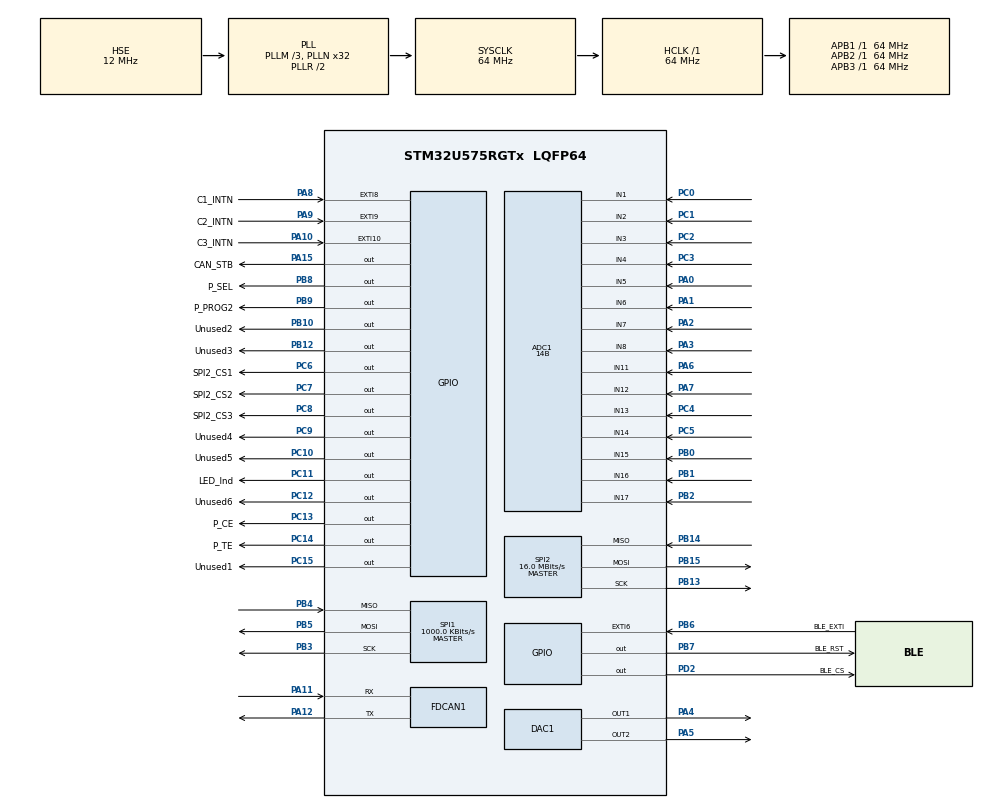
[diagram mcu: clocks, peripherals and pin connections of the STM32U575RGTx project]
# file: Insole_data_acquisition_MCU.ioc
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ADC1.Channel-0\#ChannelRegularConversion=ADC_CHANNEL_1
ADC1.Channel-1\#ChannelRegularConversion=ADC_CHANNEL_2
ADC1.Channel-10\#ChannelRegularConversion=ADC_CHANNEL_13
ADC1.Channel-11\#ChannelRegularConversion=ADC_CHANNEL_14
ADC1.Channel-12\#ChannelRegularConversion=ADC_CHANNEL_15
ADC1.Channel-13\#ChannelRegularConversion=ADC_CHANNEL_16
ADC1.Channel-14\#ChannelRegularConversion=ADC_CHANNEL_17
ADC1.Channel-2\#ChannelRegularConversion=ADC_CHANNEL_3
ADC1.Channel-3\#ChannelRegularConversion=ADC_CHANNEL_4
ADC1.Channel-4\#ChannelRegularConversion=ADC_CHANNEL_5
ADC1.Channel-5\#ChannelRegularConversion=ADC_CHANNEL_6
ADC1.Channel-6\#ChannelRegularConversion=ADC_CHANNEL_7
ADC1.Channel-7\#ChannelRegularConversion=ADC_CHANNEL_8
ADC1.Channel-8\#ChannelRegularConversion=ADC_CHANNEL_11
ADC1.Channel-9\#ChannelRegularConversion=ADC_CHANNEL_12
ADC1.ClockPrescaler=ADC_CLOCK_ASYNC_DIV2
ADC1.ContinuousConvMode=DISABLE
ADC1.ConversionDataManagement=ADC_CONVERSIONDATA_DMA_ONESHOT
ADC1.EOCSelection=ADC_EOC_SEQ_CONV
ADC1.EnableRegularConversion=ENABLE
ADC1.LowPowerAutoWait=ENABLE
ADC1.MonitoredBy-0\#ChannelRegularConversion=__NULL
ADC1.MonitoredBy-1\#ChannelRegularConversion=__NULL
ADC1.MonitoredBy-10\#ChannelRegularConversion=__NULL
ADC1.MonitoredBy-11\#ChannelRegularConversion=__NULL
ADC1.MonitoredBy-12\#ChannelRegularConversion=__NULL
ADC1.MonitoredBy-13\#ChannelRegularConversion=__NULL
ADC1.MonitoredBy-14\#ChannelRegularConversion=__NULL
ADC1.MonitoredBy-2\#ChannelRegularConversion=__NULL
ADC1.MonitoredBy-3\#ChannelRegularConversion=__NULL
ADC1.MonitoredBy-4\#ChannelRegularConversion=__NULL
ADC1.MonitoredBy-5\#ChannelRegularConversion=__NULL
ADC1.MonitoredBy-6\#ChannelRegularConversion=__NULL
ADC1.MonitoredBy-7\#ChannelRegularConversion=__NULL
ADC1.MonitoredBy-8\#ChannelRegularConversion=__NULL
ADC1.MonitoredBy-9\#ChannelRegularConversion=__NULL
ADC1.NbrOfConversion=15
ADC1.NbrOfConversionFlag=1
ADC1.OffsetNumber-0\#ChannelRegularConversion=ADC_OFFSET_NONE
ADC1.OffsetNumber-1\#ChannelRegularConversion=ADC_OFFSET_NONE
ADC1.OffsetNumber-10\#ChannelRegularConversion=ADC_OFFSET_NONE
ADC1.OffsetNumber-11\#ChannelRegularConversion=ADC_OFFSET_NONE
ADC1.OffsetNumber-12\#ChannelRegularConversion=ADC_OFFSET_NONE
ADC1.OffsetNumber-13\#ChannelRegularConversion=ADC_OFFSET_NONE
ADC1.OffsetNumber-14\#ChannelRegularConversion=ADC_OFFSET_NONE
ADC1.OffsetNumber-2\#ChannelRegularConversion=ADC_OFFSET_NONE
ADC1.OffsetNumber-3\#ChannelRegularConversion=ADC_OFFSET_NONE
ADC1.OffsetNumber-4\#ChannelRegularConversion=ADC_OFFSET_NONE
ADC1.OffsetNumber-5\#ChannelRegularConversion=ADC_OFFSET_NONE
ADC1.OffsetNumber-6\#ChannelRegularConversion=ADC_OFFSET_NONE
ADC1.OffsetNumber-7\#ChannelRegularConversion=ADC_OFFSET_NONE
ADC1.OffsetNumber-8\#ChannelRegularConversion=ADC_OFFSET_NONE
ADC1.OffsetNumber-9\#ChannelRegularConversion=ADC_OFFSET_NONE
ADC1.Rank-0\#ChannelRegularConversion=1
ADC1.Rank-1\#ChannelRegularConversion=2
ADC1.Rank-10\#ChannelRegularConversion=11
ADC1.Rank-11\#ChannelRegularConversion=12
ADC1.Rank-12\#ChannelRegularConversion=13
ADC1.Rank-13\#ChannelRegularConversion=14
ADC1.Rank-14\#ChannelRegularConversion=15
ADC1.Rank-2\#ChannelRegularConversion=3
ADC1.Rank-3\#ChannelRegularConversion=4
ADC1.Rank-4\#ChannelRegularConversion=5
ADC1.Rank-5\#ChannelRegularConversion=6
ADC1.Rank-6\#ChannelRegularConversion=7
ADC1.Rank-7\#ChannelRegularConversion=8
ADC1.Rank-8\#ChannelRegularConversion=9
ADC1.Rank-9\#ChannelRegularConversion=10
ADC1.Resolution=ADC_RESOLUTION_14B
ADC1.SamplingTime-0\#ChannelRegularConversion=ADC_SAMPLETIME_5CYCLE
ADC1.SamplingTime-1\#ChannelRegularConversion=ADC_SAMPLETIME_5CYCLE
ADC1.SamplingTime-10\#ChannelRegularConversion=ADC_SAMPLETIME_5CYCLE
ADC1.SamplingTime-11\#ChannelRegularConversion=ADC_SAMPLETIME_5CYCLE
ADC1.SamplingTime-12\#ChannelRegularConversion=ADC_SAMPLETIME_5CYCLE
ADC1.SamplingTime-13\#ChannelRegularConversion=ADC_SAMPLETIME_5CYCLE
ADC1.SamplingTime-14\#ChannelRegularConversion=ADC_SAMPLETIME_5CYCLE
ADC1.SamplingTime-2\#ChannelRegularConversion=ADC_SAMPLETIME_5CYCLE
ADC1.SamplingTime-3\#ChannelRegularConversion=ADC_SAMPLETIME_5CYCLE
ADC1.SamplingTime-4\#ChannelRegularConversion=ADC_SAMPLETIME_5CYCLE
ADC1.SamplingTime-5\#ChannelRegularConversion=ADC_SAMPLETIME_5CYCLE
ADC1.SamplingTime-6\#ChannelRegularConversion=ADC_SAMPLETIME_5CYCLE
ADC1.SamplingTime-7\#ChannelRegularConversion=ADC_SAMPLETIME_5CYCLE
ADC1.SamplingTime-8\#ChannelRegularConversion=ADC_SAMPLETIME_5CYCLE
ADC1.SamplingTime-9\#ChannelRegularConversion=ADC_SAMPLETIME_5CYCLE
ADC1.master=1
CORTEX_M33_NS.userName=CORTEX_M33
DAC1.DAC_Channel-DAC_OUT1=DAC_CHANNEL_1
DAC1.DAC_Channel-DAC_OUT2=DAC_CHANNEL_2
DAC1.DAC_HoldTime-DAC_OUT1=62
DAC1.DAC_HoldTime-DAC_OUT2=62
DAC1.DAC_RefreshTime-DAC_OUT1=4
DAC1.DAC_RefreshTime-DAC_OUT2=4
DAC1.DAC_SampleAndHold-DAC_OUT1=DAC_SAMPLEANDHOLD_ENABLE
DAC1.DAC_SampleAndHold-DAC_OUT2=DAC_SAMPLEANDHOLD_ENABLE
DAC1.DAC_SampleTime-DAC_OUT1=11
DAC1.DAC_SampleTime-DAC_OUT2=11
DAC1.DAC_Trigger-DAC_OUT1=DAC_TRIGGER_NONE
FDCAN1.CalculateBaudRateNominal=1000000
FDCAN1.CalculateTimeBitNominal=1000
FDCAN1.CalculateTimeQuantumNominal=62.5
FDCAN1.NominalPrescaler=4
FDCAN1.NominalTimeSeg1=13
FDCAN1.NominalTimeSeg2=2
GPDMA1.CIRCULARMODE_GPDMACH0=DISABLE
GPDMA1.DATAHANDLING_GPDMACH0=NONE
GPDMA1.DESTDATAWIDTH_GPDMACH0=DMA_DEST_DATAWIDTH_HALFWORD
GPDMA1.DESTINC_GPDMACH0=DMA_DINC_INCREMENTED
GPDMA1.IPHANDLE_GPDMACH0-SIMPLEREQUEST_GPDMACH0=__NULL
GPDMA1.LINKALLOCATEDPORT_CIRCULAR_GPDMACH0=DMA_LINK_ALLOCATED_PORT0
GPDMA1.REQUEST_GPDMACH0=GPDMA1_REQUEST_ADC1
GPDMA1.SRCDATAWIDTH_GPDMACH0=DMA_SRC_DATAWIDTH_HALFWORD
GPDMA1.SRCINC_GPDMACH0=DMA_SINC_FIXED
GPDMA1.TRIGGERPOLARITY_GPDMACH0=DMA_TRIG_POLARITY_MASKED
Mcu.Family=STM32U5
Mcu.Name=STM32U575RGTx
Mcu.Package=LQFP64
NVIC.ADC1_IRQn=true\:0\:0\:false\:false\:true\:true\:true\:true
NVIC.EXTI10_IRQn=true\:2\:0\:true\:false\:true\:true\:true\:true
NVIC.EXTI6_IRQn=true\:1\:0\:true\:false\:true\:true\:true\:true
NVIC.EXTI8_IRQn=true\:2\:0\:true\:false\:true\:true\:true\:true
NVIC.EXTI9_IRQn=true\:2\:0\:true\:false\:true\:true\:true\:true
NVIC.FDCAN1_IT0_IRQn=true\:5\:0\:true\:false\:true\:true\:true\:true
NVIC.FDCAN1_IT1_IRQn=true\:5\:0\:true\:false\:true\:true\:true\:true
NVIC.GPDMA1_Channel0_IRQn=true\:0\:0\:false\:false\:true\:false\:true\:true
NVIC.PriorityGroup=NVIC_PRIORITYGROUP_4
NVIC.SPI1_IRQn=true\:0\:0\:false\:false\:true\:true\:true\:true
NVIC.SPI2_IRQn=true\:0\:0\:false\:false\:true\:true\:true\:true
PA0.Mode=IN5-Single-Ended
PA0.Signal=ADC1_IN5
PA1.Mode=IN6-Single-Ended
PA1.Signal=ADC1_IN6
PA10.GPIO_Label=C3_INTN
PA10.GPIO_ModeDefaultEXTI=GPIO_MODE_IT_FALLING
PA10.Signal=GPXTI10
PA11.Mode=FDCAN_Activate
PA11.Signal=FDCAN1_RX
PA12.Mode=FDCAN_Activate
PA12.Signal=FDCAN1_TX
PA13\ (JTMS/SWDIO).Mode=Serial_Wire
PA13\ (JTMS/SWDIO).Signal=DEBUG_JTMS-SWDIO
PA14\ (JTCK/SWCLK).Mode=Serial_Wire
PA14\ (JTCK/SWCLK).Signal=DEBUG_JTCK-SWCLK
PA15\ (JTDI).GPIO_Label=CAN_STB
PA15\ (JTDI).PinState=GPIO_PIN_SET
PA15\ (JTDI).Signal=GPIO_Output
PA2.Mode=IN7-Single-Ended
PA2.Signal=ADC1_IN7
PA3.Mode=IN8-Single-Ended
PA3.Signal=ADC1_IN8
PA4.Signal=COMP_DAC11_group
PA5.Signal=COMP_DAC12_group
PA6.Mode=IN11-Single-Ended
PA6.Signal=ADC1_IN11
PA7.Mode=IN12-Single-Ended
PA7.Signal=ADC1_IN12
PA8.GPIO_Label=C1_INTN
PA8.GPIO_ModeDefaultEXTI=GPIO_MODE_IT_FALLING
PA8.Signal=GPXTI8
PA9.GPIO_Label=C2_INTN
PA9.GPIO_ModeDefaultEXTI=GPIO_MODE_IT_FALLING
PA9.Signal=GPXTI9
PB0.Mode=IN15-Single-Ended
PB0.Signal=ADC1_IN15
PB1.Mode=IN16-Single-Ended
PB1.Signal=ADC1_IN16
PB10.GPIO_Label=Unused2
PB10.Signal=GPIO_Output
PB12.GPIO_Label=Unused3
PB12.Signal=GPIO_Output
PB13.Mode=Full_Duplex_Master
PB13.Signal=SPI2_SCK
PB14.Mode=Full_Duplex_Master
PB14.Signal=SPI2_MISO
PB15.Mode=Full_Duplex_Master
PB15.Signal=SPI2_MOSI
PB2.Mode=IN17-Single-Ended
PB2.Signal=ADC1_IN17
PB3\ (JTDO/TRACESWO).GPIO_Mode=GPIO_MODE_AF_PP
PB3\ (JTDO/TRACESWO).GPIO_PuPd=GPIO_NOPULL
PB3\ (JTDO/TRACESWO).GPIO_Speed=GPIO_SPEED_FREQ_LOW
PB3\ (JTDO/TRACESWO).Mode=Full_Duplex_Master
PB3\ (JTDO/TRACESWO).Signal=SPI1_SCK
PB4\ (NJTRST).GPIO_Mode=GPIO_MODE_AF_PP
PB4\ (NJTRST).GPIO_PuPd=GPIO_NOPULL
PB4\ (NJTRST).GPIO_Speed=GPIO_SPEED_FREQ_LOW
PB4\ (NJTRST).Mode=Full_Duplex_Master
PB4\ (NJTRST).Signal=SPI1_MISO
PB5.GPIO_Mode=GPIO_MODE_AF_PP
PB5.GPIO_PuPd=GPIO_NOPULL
PB5.GPIO_Speed=GPIO_SPEED_FREQ_LOW
PB5.Mode=Full_Duplex_Master
PB5.Signal=SPI1_MOSI
PB6.GPIO_Label=BLE_EXTI
PB6.GPIO_ModeDefaultEXTI=GPIO_MODE_IT_RISING
PB6.Signal=GPXTI6
PB7.GPIO_Label=BLE_RST
PB7.GPIO_ModeDefaultOutputPP=GPIO_MODE_OUTPUT_OD
PB7.GPIO_PuPd=GPIO_NOPULL
PB7.PinState=GPIO_PIN_SET
PB7.Signal=GPIO_Output
PB8.GPIO_Label=P_SEL
PB8.GPIO_ModeDefaultOutputPP=GPIO_MODE_OUTPUT_OD
PB8.GPIO_PuPd=GPIO_PULLUP
PB8.PinState=GPIO_PIN_SET
PB8.Signal=GPIO_Output
PB9.GPIO_Label=P_PROG2
PB9.GPIO_PuPd=GPIO_PULLDOWN
PB9.Signal=GPIO_Output
PC0.Mode=IN1-Single-Ended
PC0.Signal=ADC1_IN1
PC1.Mode=IN2-Single-Ended
PC1.Signal=ADC1_IN2
PC10.GPIO_Label=Unused5
PC10.Signal=GPIO_Output
PC11.GPIO_Label=LED_Ind
PC11.GPIO_ModeDefaultOutputPP=GPIO_MODE_OUTPUT_OD
PC11.GPIO_PuPd=GPIO_NOPULL
PC11.PinState=GPIO_PIN_SET
PC11.Signal=GPIO_Output
PC12.GPIO_Label=Unused6
PC12.Signal=GPIO_Output
PC13.GPIO_Label=P_CE
PC13.GPIO_PuPd=GPIO_PULLUP
PC13.PinState=GPIO_PIN_SET
PC13.Signal=GPIO_Output
PC14-OSC32_IN\ (PC14).GPIO_Label=P_TE
PC14-OSC32_IN\ (PC14).GPIO_PuPd=GPIO_PULLDOWN
PC14-OSC32_IN\ (PC14).Signal=GPIO_Output
PC15-OSC32_OUT\ (PC15).GPIO_Label=Unused1
PC15-OSC32_OUT\ (PC15).Signal=GPIO_Output
PC2.Mode=IN3-Single-Ended
PC2.Signal=ADC1_IN3
PC3.Mode=IN4-Single-Ended
PC3.Signal=ADC1_IN4
PC4.Mode=IN13-Single-Ended
PC4.Signal=ADC1_IN13
PC5.Mode=IN14-Single-Ended
PC5.Signal=ADC1_IN14
PC6.GPIO_Label=SPI2_CS1
PC6.PinState=GPIO_PIN_SET
PC6.Signal=GPIO_Output
PC7.GPIO_Label=SPI2_CS2
PC7.PinState=GPIO_PIN_SET
PC7.Signal=GPIO_Output
PC8.GPIO_Label=SPI2_CS3
PC8.PinState=GPIO_PIN_SET
PC8.Signal=GPIO_Output
PC9.GPIO_Label=Unused4
PC9.Signal=GPIO_Output
PD2.GPIO_Label=BLE_CS
PD2.PinState=GPIO_PIN_SET
PD2.Signal=GPIO_Output
PH0-OSC_IN\ (PH0).Mode=HSE-External-Oscillator
PH0-OSC_IN\ (PH0).Signal=RCC_OSC_IN
PH1-OSC_OUT\ (PH1).Mode=HSE-External-Oscillator
PH1-OSC_OUT\ (PH1).Signal=RCC_OSC_OUT
ProjectManager.HeapSize=0x200
ProjectManager.StackSize=0x400
ProjectManager.TargetToolchain=STM32CubeIDE
RCC.ADCCLockSelection=RCC_ADCDACCLKSOURCE_SYSCLK
RCC.ADCFreq_Value=64000000
RCC.AHBFreq_Value=64000000
RCC.APB1Freq_Value=64000000
RCC.APB1TimFreq_Value=64000000
RCC.APB2Freq_Value=64000000
RCC.APB2TimFreq_Value=64000000
RCC.APB3Freq_Value=64000000
RCC.CortexFreq_Value=64000000
RCC.EPOD_VALUE=12000000
RCC.HCLKFreq_Value=64000000
RCC.HSE_VALUE=12000000
RCC.HSI48_VALUE=48000000
RCC.HSI_VALUE=16000000
RCC.LSE_VALUE=32768
RCC.LSIDIV_VALUE=32000
RCC.MSIClockRange=RCC_MSIRANGE_0
RCC.MSI_VALUE=48000000
RCC.PLL1MBOOST=RCC_PLLMBOOST_DIV1
RCC.PLL2FRACN=0
RCC.PLL2M=2
RCC.PLL2N=6
RCC.PLL2P=1
RCC.PLL2R=1
RCC.PLL2Source=RCC_PLLSOURCE_HSE
RCC.PLL3FRACN=0
RCC.PLL3Source=RCC_PLLSOURCE_HSE
RCC.PLLFRACN=0
RCC.PLLM=3
RCC.PLLN=32
RCC.PLLSourceVirtual=RCC_PLLSOURCE_HSE
RCC.PWR_Regulator_Voltage_Scale=PWR_REGULATOR_VOLTAGE_SCALE2
RCC.SYSCLKFreq_VALUE=64000000
RCC.SYSCLKSource=RCC_SYSCLKSOURCE_PLLCLK
RCC.USBFreq_Value=48000000
RCC.VCOOutputFreq_Value=128000000
SH.COMP_DAC11_group.0=DAC1_OUT1,DAC_OUT1
SH.COMP_DAC12_group.0=DAC1_OUT2,DAC_OUT2
SPI1.BaudRatePrescaler=SPI_BAUDRATEPRESCALER_64
SPI1.CLKPhase=SPI_PHASE_2EDGE
SPI1.CalculateBaudRate=1000.0 KBits/s
SPI1.DataSize=SPI_DATASIZE_8BIT
SPI1.Direction=SPI_DIRECTION_2LINES
SPI1.Mode=SPI_MODE_MASTER
SPI1.VirtualType=VM_MASTER
SPI2.BaudRatePrescaler=SPI_BAUDRATEPRESCALER_4
SPI2.CLKPhase=SPI_PHASE_2EDGE
SPI2.CalculateBaudRate=16.0 MBits/s
SPI2.DataSize=SPI_DATASIZE_8BIT
SPI2.Direction=SPI_DIRECTION_2LINES
SPI2.Mode=SPI_MODE_MASTER
SPI2.VirtualType=VM_MASTER
VP_GPDMA1_VS_GPDMACH0.Mode=SIMPLEREQUEST_GPDMACH0
VP_ICACHE_VS_ICACHE.Mode=DefaultMode
VP_LPBAMQUEUE_VS_QUEUE.Mode=QUEUEMODE
VP_LPBAM_VS_SIG1.Mode=SmartRun
VP_LPBAM_VS_SIG4.Mode=LPDMA1
VP_MEMORYMAP_VS_MEMORYMAP.Mode=CurAppReg
VP_PWR_VS_SECSignals.Mode=Security/Privilege
VP_PWR_Vdda.Mode=isolationVdda
board=custom

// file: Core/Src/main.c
/* USER CODE BEGIN Header */
/**
  ******************************************************************************
  * @file           : main.c
  * @brief          : Main program body
  ******************************************************************************
  * @attention
  *
  * Copyright (c) 2025 STMicroelectronics.
  * All rights reserved.
  *
  * This software is licensed under terms that can be found in the LICENSE file
  * in the root directory of this software component.
  * If no LICENSE file comes with this software, it is provided AS-IS.
  *
  ******************************************************************************
  */
/* USER CODE END Header */
#include "main.h"

/* USER CODE BEGIN Includes */
#include "custom.h"

#include "user_spi_interface.h"

/* USER CODE END Includes */

/* USER CODE BEGIN PD */

	/*Sensor Selection*/
//Select which sensors to measure
	//RES_ONLY, CAP_ONLY, RES_CAP, NONE
#define Measure_Select RES_ONLY

	/*CAN Defines*/
//CAN_ID: CAN Bus Identifier in hexadecimal
#define CAN_ID 0x0FF
//CAN_STB
#define CAN_ON	0		// 0: CAN transceiver is in Standby mode
						// 1: CAN transceiver is activated

	/*Power charger MCP73871*/
//P_SEL: Input Type Selection
#define P_SEL	1		// 0: USB power (Limited current)
						// 1: AC power (1.65A max input current)
//P_PROG2: USB Current Regulation set
#define P_PROG2	0		// 0: 100mA max. input current
						// 1: 500mA max. input current
//P_TE: Timer Enable to limit charging time
#define P_TE	1		// 0: 6H Timer Disabled
						// 1: 6H Timer Enabled
//P_CE: Charge Enable
#define P_CE	1		// 0: Charging Disabled
						// 1: Charging Enabled

	/*BlueNRG-M2*/

	/*PCAP04 Capacitance sensors*/
//PCAP04 opcodes declarations
#define WR_MEM 		0xA0
#define RD_MEM 		0x20
#define WR_CONFIG 	0xA3C0	//byte wise
#define RD_CONFIG 	0x23C0	//byte wise
#define RD_RESULT 	0x40

#define POR 		0x88
#define INIT 		0x8A
#define CDC_START 	0x8C
#define RDC_START 	0x8E
#define DSP_TRIG 	0x8D
#define NV_STORE 	0x96
#define NV_RECALL 	0x99
#define NV_ERASE 	0x9C
#define TEST_READ 	0x7E

	/*Resistive sensors*/
//Offset voltages for op-amp amplifiers negative input
//Must be between 0.1V and 3.2V
//Minimum resolution is 0.0008V (12-bit resolution)
#define Voff1	0.1		//Voltage offset for channels R1-R9
#define Voff2	0.1		//Voltage offset for channels R10-R15

/* USER CODE END PD */

ADC_HandleTypeDef hadc1;
DMA_HandleTypeDef handle_GPDMA1_Channel0;

DAC_HandleTypeDef hdac1;

FDCAN_HandleTypeDef hfdcan1;

SPI_HandleTypeDef hspi1;
SPI_HandleTypeDef hspi2;

/* USER CODE BEGIN PV */

	/*DAC Variables*/
uint16_t DAC_Value1;	//12-bit value for output of DAC1
uint16_t DAC_Value2;	//12-bit value for output of DAC2

	/*BlueNRG variables*/
uint8_t SendResUpdated = 0;
uint8_t SendCapUpdated = 0;
uint8_t BlueNRGRequest = 0;

	/*ADC Variables*/
volatile uint16_t ADC_Values[15];	//32-bit result variables from ADC
uint16_t R_Values[15];		//14-bit converted readout values from ADC saved into 16-bit length
volatile uint8_t ADC_eoc_Flag = 0;	//End of Conversion flag after each ADC scan conversion

	/*Capacitive Reading Variables*/
uint32_t C_Values[15];

	/*PCAP04 variables declarations*/
volatile uint8_t INTN_1_State = 0;
volatile uint8_t INTN_2_State = 0;
volatile uint8_t INTN_3_State = 0;

uint8_t CAP1_Updated = 0;
uint8_t CAP2_Updated = 0;
uint8_t CAP3_Updated = 0;

uint8_t PCAP_Buf[256] = {0x12,0x34};
uint8_t PCAP1_OK = 0;	//Will set to 1 if all verifications are successful
uint8_t PCAP2_OK = 0;
uint8_t PCAP3_OK = 0;

// Default Configuration <pcap04_default.cfg>, Bytewise
uint8_t  standard_cfg_bytewise[52] = {
		0x1D,0x00,0x58,0x10,   // Register 0, 1, 2, 3
		0x10,0x00,0x0F,0x20,   // Register 4, 5, 6, 7
		0x00,0xD0,0x07,0x00,   // Register 8, 9, 10, 11
		0x00,0x08,0xFF,0x03,   // Register 12, 13, 14, 15
		0x00,0x24,0x00,0x00,   // Register 16, 17, 18, 19
		0x00,0x01,0x50,0x30,   // Register 20, 21, 22, 23
		0x73,0x04,0x50,0x08,   // Register 24, 25, 26, 27
		0x5A,0x00,0x82,0x08,   // Register 28, 29, 30, 31
		0x08,0x00,0x47,0x40,   // Register 32, 33, 34, 35
		0x00,0x00,0x00,0x71,   // Register 36, 37, 38, 39
		0x00,0x00,0x08,0x00,   // Register 40, 41, 42, 43
		0x00,0x00,0x00,0x01,   // Register 44, 45, 46, 47
		0x00,0x00,0x00,0x00    // Register 48, 49, 50, 51
};

// Standard Firmware, <PCap04_standard_v1.hex>, Bytewise
// 34 Rows x 16 Bytes  +  1 Rows x 4 Bytes  = 548 Bytes
uint8_t standard_fw[548] = {
		0x24, 0x05, 0xA0, 0x01, 0x20, 0x55, 0x42, 0x5C, 0x48, 0xB1, 0x07, 0x92, 0x02, 0x20, 0x13, 0x02,
		0x20, 0x93, 0x02, 0xB2, 0x02, 0x78, 0x20, 0x54, 0xB3, 0x06, 0x91, 0x00, 0x7F, 0x20, 0x86, 0x20,
		0x54, 0xB6, 0x03, 0x72, 0x62, 0x20, 0x54, 0xB7, 0x00, 0x00, 0x42, 0x5C, 0xA1, 0x00, 0x49, 0xB0,
		0x00, 0x49, 0x40, 0xAB, 0x5D, 0x92, 0x1C, 0x90, 0x02, 0x7F, 0x20, 0x86, 0x66, 0x67, 0x76, 0x77,
		0x66, 0x7A, 0xCF, 0xCD, 0xE6, 0x43, 0xF1, 0x44, 0x29, 0xE0, 0x7A, 0xDC, 0xE7, 0x41, 0x32, 0xAA,
		0x01, 0x99, 0xFD, 0x7B, 0x01, 0x7A, 0xCF, 0xEB, 0xE6, 0x43, 0xF1, 0x44, 0x29, 0xE0, 0x7A, 0xC1,
		0xE7, 0x41, 0x32, 0x6A, 0xDE, 0x44, 0x7A, 0xCF, 0xEA, 0xE6, 0x43, 0xF1, 0x44, 0x29, 0xE0, 0x6A,
		0xDF, 0x44, 0x7A, 0xC4, 0xE7, 0x41, 0x32, 0xAB, 0x05, 0x7A, 0xC1, 0xE1, 0x43, 0xE0, 0x3A, 0x7A,
		0xC0, 0xE1, 0x43, 0xE0, 0x3A, 0x02, 0x7A, 0xCF, 0xE6, 0xE6, 0x43, 0xF1, 0x44, 0x29, 0xE0, 0x7A,
		0xEF, 0x44, 0x02, 0x20, 0x9D, 0x84, 0x01, 0x21, 0x2E, 0x21, 0x74, 0x20, 0x37, 0xC8, 0x7A, 0xE7,
		0x43, 0x49, 0x11, 0x6A, 0xD4, 0x44, 0x7A, 0xC1, 0xD8, 0xE6, 0x43, 0xE9, 0x44, 0x1C, 0x43, 0x13,
		0xAB, 0x63, 0x6A, 0xDE, 0x41, 0xAB, 0x0B, 0x46, 0x46, 0x46, 0x7A, 0xDF, 0xFF, 0xFF, 0xFF, 0xFF,
		0xE3, 0x41, 0x32, 0x1C, 0x44, 0xE9, 0x13, 0x6A, 0xD4, 0x13, 0x41, 0xAA, 0xDF, 0x7A, 0xC5, 0xE1,
		0x43, 0x49, 0xE0, 0x34, 0x7A, 0xCF, 0xE3, 0xE6, 0x43, 0xF1, 0x44, 0x29, 0xE0, 0xDB, 0xC0, 0x27,
		0xE5, 0x6A, 0xDF, 0x43, 0x7A, 0xC8, 0xE7, 0x41, 0x30, 0xAB, 0x03, 0x86, 0x01, 0x92, 0x37, 0x7A,
		0xC6, 0xE7, 0x41, 0x7A, 0xFA, 0xE7, 0x43, 0xEA, 0x44, 0x7A, 0xC1, 0xE1, 0xE6, 0x43, 0xE9, 0x44,
		0x25, 0xE0, 0x7A, 0xC6, 0xE7, 0x41, 0x7A, 0xFA, 0xE7, 0x43, 0xEA, 0x44, 0x7A, 0xC0, 0xE7, 0x43,
		0xE9, 0x44, 0x25, 0xE0, 0x92, 0x10, 0x7A, 0xE1, 0x44, 0xE2, 0x44, 0xE3, 0x44, 0xE4, 0x44, 0xE5,
		0x44, 0xE6, 0x44, 0xE7, 0x44, 0xE8, 0x44, 0xC1, 0xD8, 0x24, 0x3E, 0x92, 0xFF, 0x02, 0x7A, 0xCF,
		0xD7, 0xE6, 0x43, 0xF1, 0x44, 0x7A, 0xD0, 0xE7, 0x43, 0x2A, 0x2A, 0x32, 0xAB, 0x03, 0x42, 0x5C,
		0x92, 0x03, 0x7A, 0xC0, 0xE1, 0x43, 0xD9, 0x27, 0x90, 0x6A, 0xDF, 0x43, 0x7A, 0xC8, 0xE7, 0x41,
		0x32, 0xAB, 0x03, 0x86, 0x01, 0x92, 0x11, 0x7A, 0xC2, 0x43, 0x7A, 0xE7, 0x44, 0x6A, 0xC6, 0x44,
		0x7A, 0xC3, 0x43, 0x7A, 0xE8, 0x44, 0x6A, 0xC7, 0x44, 0xC1, 0xD4, 0x24, 0x57, 0x7A, 0xC8, 0xE1,
		0x43, 0xE0, 0x3A, 0x02, 0x7A, 0xCF, 0xE7, 0xE6, 0x43, 0xF1, 0x44, 0x29, 0xE0, 0x7A, 0xC7, 0xE1,
		0x41, 0x6A, 0xD4, 0x45, 0x5A, 0x25, 0x36, 0x46, 0x46, 0x46, 0x46, 0x7A, 0xE9, 0x44, 0x7A, 0xC0,
		0xE7, 0x43, 0x55, 0x7A, 0xEA, 0x45, 0x7A, 0xE9, 0x51, 0x1C, 0x43, 0x6A, 0xCA, 0x44, 0x1D, 0x43,
		0x6A, 0xCB, 0x44, 0x7A, 0xC1, 0xCA, 0xE6, 0x43, 0xE9, 0x44, 0x7A, 0xC1, 0xE1, 0x43, 0x7A, 0xCC,
		0xE0, 0xE6, 0x41, 0x2C, 0x42, 0x7A, 0xC5, 0xE1, 0x43, 0x49, 0xE0, 0x34, 0x7A, 0xC1, 0xCC, 0xE6,
		0x43, 0xE9, 0x44, 0x7A, 0xC1, 0xE1, 0x43, 0x2C, 0x70, 0x7A, 0xCC, 0x43, 0x7A, 0xCF, 0x44, 0x7A,
		0xCD, 0x43, 0x7A, 0xCE, 0x44, 0x6A, 0xCA, 0x43, 0xC1, 0xCA, 0x7A, 0xE6, 0x41, 0xE9, 0x45, 0x2B,
		0xAE, 0xEE, 0x44, 0x7A, 0xC1, 0xCA, 0xE6, 0x43, 0xE9, 0x44, 0x7A, 0xC1, 0xE1, 0x43, 0x7A, 0xCC,
		0xEC, 0xE6, 0x41, 0x2C, 0x42, 0x7A, 0xC5, 0xE1, 0x43, 0x49, 0xE0, 0x34, 0x7A, 0xC1, 0xCC, 0xE6,
		0x43, 0xE9, 0x44, 0x7A, 0xC1, 0xE1, 0x43, 0x2C, 0x70, 0x7A, 0xCC, 0x43, 0x7A, 0xCF, 0x44, 0x7A,
		0xCD, 0x43, 0x7A, 0xCE, 0x44, 0x6A, 0xCB, 0x43, 0xC1, 0xCA, 0x7A, 0xE6, 0x41, 0xE9, 0x45, 0x2B,
		0xAE, 0xED, 0x44, 0x02
};

/* USER CODE END PV */

void SystemClock_Config(void);
static void MX_GPIO_Init(void);
static void MX_GPDMA1_Init(void);
static void MX_FDCAN1_Init(void);
static void MX_ADC1_Init(void);
static void MX_DAC1_Init(void);
static void MX_SPI2_Init(void);
static void MX_ICACHE_Init(void);
static void MX_SPI1_Init(void);
/* USER CODE BEGIN PFP */

static void P_Charger_Init(void);
static void CAN_Transceiver_Init(void);
static uint8_t PCAP_Init(uint8_t channel, uint8_t State);
static void BlueNRG_2_Init(void);
void BlueNRG_2_Update(void);

#if((Measure_Select == CAP_ONLY) || (Measure_Select == RES_CAP))
void HAL_GPIO_EXTI_Callback(uint16_t GPIO_Pin);
#endif

/* USER CODE END PFP */

int main(void)
{

  /* MCU Configuration--------------------------------------------------------*/

  /* Reset of all peripherals, Initializes the Flash interface and the Systick. */
  HAL_Init();

  /* Configure the system clock */
  SystemClock_Config();

  /* Initialize all configured peripherals */
  MX_GPIO_Init();
  MX_GPDMA1_Init();
  MX_FDCAN1_Init();
  MX_ADC1_Init();
  MX_DAC1_Init();
  MX_SPI2_Init();
  MX_ICACHE_Init();
  MX_SPI1_Init();
  /* USER CODE BEGIN 2 */

  HAL_GPIO_WritePin(GPIOC, LED_Ind_Pin, GPIO_PIN_SET);

  	  /*Peripheral initialization*/
  P_Charger_Init();
  CAN_Transceiver_Init();

  //Test and Startup of PCAP04 ICs
  #if((Measure_Select == CAP_ONLY) || (Measure_Select == RES_CAP))
	PCAP1_OK = PCAP_Init(1, PCAP_ON);
	PCAP2_OK = PCAP_Init(2, PCAP_ON);
	PCAP3_OK = PCAP_Init(3, PCAP_ON);
  #else
	PCAP1_OK = PCAP_Init(1, PCAP_OFF);
	PCAP2_OK = PCAP_Init(2, PCAP_OFF);
	PCAP3_OK = PCAP_Init(3, PCAP_OFF);
  #endif

  	  /*DAC Initialization and setup*/
  HAL_DAC_Start(&hdac1, DAC_CHANNEL_1);
  HAL_DAC_Start(&hdac1, DAC_CHANNEL_2);

  //DAC output value calculation. Mapping 0 - 3.3V to 0 - 2^12 bits
  DAC_Value1 = (uint16_t)((Voff1 / 3.3f) * 4095.0f);
  DAC_Value2 = (uint16_t)((Voff2 / 3.3f) * 4095.0f);

  HAL_DAC_SetValue(&hdac1, DAC_CHANNEL_1, DAC_ALIGN_12B_R, DAC_Value1);
  HAL_DAC_SetValue(&hdac1, DAC_CHANNEL_2, DAC_ALIGN_12B_R, DAC_Value2);

  	  /*ADC Initialization, calibration and setup*/
  HAL_ADCEx_Calibration_Start(&hadc1, ADC_CALIB_OFFSET_LINEARITY, ADC_SINGLE_ENDED);

  HAL_ADC_Start_DMA(&hadc1, (uint32_t*)&ADC_Values, 15);

  HAL_GPIO_WritePin(GPIOC, LED_Ind_Pin, GPIO_PIN_RESET);

  	  /*BlueNRG2 initialization*/
  BlueNRG_2_Init();

  /* USER CODE END 2 */

  /* Infinite loop */
  while (1)
  {

    /* USER CODE BEGIN 3 */

	#if ((Measure_Select == CAP_ONLY) || (Measure_Select == RES_CAP))
		if(INTN_1_State == 1)
		{
			C_Values[0] = Read_Dword_Lite(1, 0x40, 0x04);
			C_Values[1] = Read_Dword_Lite(1, 0x40, 0x08);
			C_Values[2] = Read_Dword_Lite(1, 0x40, 0x0C);
			C_Values[3] = Read_Dword_Lite(1, 0x40, 0x10);
			C_Values[4] = Read_Dword_Lite(1, 0x40, 0x14);
			INTN_1_State = 0;
			CAP1_Updated = 1;
		}
		if(INTN_2_State == 1)
		{
			C_Values[5] = Read_Dword_Lite(2, 0x40, 0x04);
			C_Values[6] = Read_Dword_Lite(2, 0x40, 0x08);
			C_Values[7] = Read_Dword_Lite(2, 0x40, 0x0C);
			C_Values[8] = Read_Dword_Lite(2, 0x40, 0x10);
			C_Values[9] = Read_Dword_Lite(2, 0x40, 0x14);
			INTN_2_State = 0;
			CAP2_Updated = 1;
		}
		if(INTN_3_State == 1)
		{
			C_Values[10] = Read_Dword_Lite(3, 0x40, 0x04);
			C_Values[11] = Read_Dword_Lite(3, 0x40, 0x08);
			C_Values[12] = Read_Dword_Lite(3, 0x40, 0x0C);
			C_Values[13] = Read_Dword_Lite(3, 0x40, 0x10);
			C_Values[14] = Read_Dword_Lite(3, 0x40, 0x14);
			INTN_3_State = 0;
			CAP3_Updated = 1;
		}
	#endif

	#if Measure_Select != NONE
		if(ADC_eoc_Flag && CAP1_Updated && CAP2_Updated && CAP3_Updated)
		{
			for(int i=0;i<15;i++)
			{
				R_Values[i] = ADC_Values[i];
			}
			SendCapUpdated = 1;
			SendResUpdated = 1;
			ADC_eoc_Flag = 0;
			CAP1_Updated = CAP2_Updated = CAP3_Updated = 0;
			HAL_ADC_Start_DMA(&hadc1, (uint32_t*)&ADC_Values, 15);
		}else if (ADC_eoc_Flag && (Measure_Select != CAP_ONLY))
		{
			for(int i=0;i<15;i++)
			{
				R_Values[i] = ADC_Values[i];
			}
			SendResUpdated = 1;
			ADC_eoc_Flag = 0;
			HAL_ADC_Start_DMA(&hadc1, (uint32_t*)&ADC_Values, 15);
		}else if(CAP1_Updated && CAP2_Updated && CAP3_Updated && (Measure_Select != RES_ONLY))
		{
			SendCapUpdated = 1;
			CAP1_Updated = CAP2_Updated = CAP3_Updated = 0;
		}else
		{

		}
	#endif
	if(BlueNRGRequest)
	{
		BlueNRG_2_Update();
		BlueNRGRequest = 0;
		HAL_GPIO_TogglePin(LED_Ind_GPIO_Port, LED_Ind_Pin);
	}

  }
  /* USER CODE END 3 */
}

void SystemClock_Config(void)
{
  RCC_OscInitTypeDef RCC_OscInitStruct = {0};
  RCC_ClkInitTypeDef RCC_ClkInitStruct = {0};

  /** Configure the main internal regulator output voltage
  */
  if (HAL_PWREx_ControlVoltageScaling(PWR_REGULATOR_VOLTAGE_SCALE2) != HAL_OK)
  {
    Error_Handler();
  }

  /** Initializes the CPU, AHB and APB buses clocks
  */
  RCC_OscInitStruct.OscillatorType = RCC_OSCILLATORTYPE_LSI|RCC_OSCILLATORTYPE_HSE;
  RCC_OscInitStruct.HSEState = RCC_HSE_ON;
  RCC_OscInitStruct.LSIState = RCC_LSI_ON;
  RCC_OscInitStruct.LSIDiv = RCC_LSI_DIV1;
  RCC_OscInitStruct.PLL.PLLState = RCC_PLL_ON;
  RCC_OscInitStruct.PLL.PLLSource = RCC_PLLSOURCE_HSE;
  RCC_OscInitStruct.PLL.PLLMBOOST = RCC_PLLMBOOST_DIV1;
  RCC_OscInitStruct.PLL.PLLM = 3;
  RCC_OscInitStruct.PLL.PLLN = 32;
  RCC_OscInitStruct.PLL.PLLP = 2;
  RCC_OscInitStruct.PLL.PLLQ = 2;
  RCC_OscInitStruct.PLL.PLLR = 2;
  RCC_OscInitStruct.PLL.PLLRGE = RCC_PLLVCIRANGE_0;
  RCC_OscInitStruct.PLL.PLLFRACN = 0;
  if (HAL_RCC_OscConfig(&RCC_OscInitStruct) != HAL_OK)
  {
    Error_Handler();
  }

  /** Initializes the CPU, AHB and APB buses clocks
  */
  RCC_ClkInitStruct.ClockType = RCC_CLOCKTYPE_HCLK|RCC_CLOCKTYPE_SYSCLK
                              |RCC_CLOCKTYPE_PCLK1|RCC_CLOCKTYPE_PCLK2
                              |RCC_CLOCKTYPE_PCLK3;
  RCC_ClkInitStruct.SYSCLKSource = RCC_SYSCLKSOURCE_PLLCLK;
  RCC_ClkInitStruct.AHBCLKDivider = RCC_SYSCLK_DIV1;
  RCC_ClkInitStruct.APB1CLKDivider = RCC_HCLK_DIV1;
  RCC_ClkInitStruct.APB2CLKDivider = RCC_HCLK_DIV1;
  RCC_ClkInitStruct.APB3CLKDivider = RCC_HCLK_DIV1;

  if (HAL_RCC_ClockConfig(&RCC_ClkInitStruct, FLASH_LATENCY_2) != HAL_OK)
  {
    Error_Handler();
  }
}

static void MX_ADC1_Init(void)
{

  ADC_ChannelConfTypeDef sConfig = {0};

  /** Common config
  */
  hadc1.Instance = ADC1;
  hadc1.Init.ClockPrescaler = ADC_CLOCK_ASYNC_DIV2;
  hadc1.Init.Resolution = ADC_RESOLUTION_14B;
  hadc1.Init.GainCompensation = 0;
  hadc1.Init.ScanConvMode = ADC_SCAN_ENABLE;
  hadc1.Init.EOCSelection = ADC_EOC_SEQ_CONV;
  hadc1.Init.LowPowerAutoWait = ENABLE;
  hadc1.Init.ContinuousConvMode = DISABLE;
  hadc1.Init.NbrOfConversion = 15;
  hadc1.Init.DiscontinuousConvMode = DISABLE;
  hadc1.Init.ExternalTrigConv = ADC_SOFTWARE_START;
  hadc1.Init.ExternalTrigConvEdge = ADC_EXTERNALTRIGCONVEDGE_NONE;
  hadc1.Init.DMAContinuousRequests = DISABLE;
  hadc1.Init.TriggerFrequencyMode = ADC_TRIGGER_FREQ_HIGH;
  hadc1.Init.Overrun = ADC_OVR_DATA_PRESERVED;
  hadc1.Init.LeftBitShift = ADC_LEFTBITSHIFT_NONE;
  hadc1.Init.ConversionDataManagement = ADC_CONVERSIONDATA_DMA_ONESHOT;
  hadc1.Init.OversamplingMode = DISABLE;
  if (HAL_ADC_Init(&hadc1) != HAL_OK)
  {
    Error_Handler();
  }

  /** Configure Regular Channel
  */
  sConfig.Channel = ADC_CHANNEL_1;
  sConfig.Rank = ADC_REGULAR_RANK_1;
  sConfig.SamplingTime = ADC_SAMPLETIME_5CYCLE;
  sConfig.SingleDiff = ADC_SINGLE_ENDED;
  sConfig.OffsetNumber = ADC_OFFSET_NONE;
  sConfig.Offset = 0;
  if (HAL_ADC_ConfigChannel(&hadc1, &sConfig) != HAL_OK)
  {
    Error_Handler();
  }

  /** Configure Regular Channel
  */
  sConfig.Channel = ADC_CHANNEL_2;
  sConfig.Rank = ADC_REGULAR_RANK_2;
  if (HAL_ADC_ConfigChannel(&hadc1, &sConfig) != HAL_OK)
  {
    Error_Handler();
  }

  /** Configure Regular Channel
  */
  sConfig.Channel = ADC_CHANNEL_3;
  sConfig.Rank = ADC_REGULAR_RANK_3;
  if (HAL_ADC_ConfigChannel(&hadc1, &sConfig) != HAL_OK)
  {
    Error_Handler();
  }

  /** Configure Regular Channel
  */
  sConfig.Channel = ADC_CHANNEL_4;
  sConfig.Rank = ADC_REGULAR_RANK_4;
  if (HAL_ADC_ConfigChannel(&hadc1, &sConfig) != HAL_OK)
  {
    Error_Handler();
  }

  /** Configure Regular Channel
  */
  sConfig.Channel = ADC_CHANNEL_5;
  sConfig.Rank = ADC_REGULAR_RANK_5;
  if (HAL_ADC_ConfigChannel(&hadc1, &sConfig) != HAL_OK)
  {
    Error_Handler();
  }

  /** Configure Regular Channel
  */
  sConfig.Channel = ADC_CHANNEL_6;
  sConfig.Rank = ADC_REGULAR_RANK_6;
  if (HAL_ADC_ConfigChannel(&hadc1, &sConfig) != HAL_OK)
  {
    Error_Handler();
  }

  /** Configure Regular Channel
  */
  sConfig.Channel = ADC_CHANNEL_7;
  sConfig.Rank = ADC_REGULAR_RANK_7;
  if (HAL_ADC_ConfigChannel(&hadc1, &sConfig) != HAL_OK)
  {
    Error_Handler();
  }

  /** Configure Regular Channel
  */
  sConfig.Channel = ADC_CHANNEL_8;
  sConfig.Rank = ADC_REGULAR_RANK_8;
  if (HAL_ADC_ConfigChannel(&hadc1, &sConfig) != HAL_OK)
  {
    Error_Handler();
  }

  /** Configure Regular Channel
  */
  sConfig.Channel = ADC_CHANNEL_11;
  sConfig.Rank = ADC_REGULAR_RANK_9;
  if (HAL_ADC_ConfigChannel(&hadc1, &sConfig) != HAL_OK)
  {
    Error_Handler();
  }

  /** Configure Regular Channel
  */
  sConfig.Channel = ADC_CHANNEL_12;
  sConfig.Rank = ADC_REGULAR_RANK_10;
  if (HAL_ADC_ConfigChannel(&hadc1, &sConfig) != HAL_OK)
  {
    Error_Handler();
  }

  /** Configure Regular Channel
  */
  sConfig.Channel = ADC_CHANNEL_13;
  sConfig.Rank = ADC_REGULAR_RANK_11;
  if (HAL_ADC_ConfigChannel(&hadc1, &sConfig) != HAL_OK)
  {
    Error_Handler();
  }

  /** Configure Regular Channel
  */
  sConfig.Channel = ADC_CHANNEL_14;
  sConfig.Rank = ADC_REGULAR_RANK_12;
  if (HAL_ADC_ConfigChannel(&hadc1, &sConfig) != HAL_OK)
  {
    Error_Handler();
  }

  /** Configure Regular Channel
  */
  sConfig.Channel = ADC_CHANNEL_15;
  sConfig.Rank = ADC_REGULAR_RANK_13;
  if (HAL_ADC_ConfigChannel(&hadc1, &sConfig) != HAL_OK)
  {
    Error_Handler();
  }

  /** Configure Regular Channel
  */
  sConfig.Channel = ADC_CHANNEL_16;
  sConfig.Rank = ADC_REGULAR_RANK_14;
  if (HAL_ADC_ConfigChannel(&hadc1, &sConfig) != HAL_OK)
  {
    Error_Handler();
  }

  /** Configure Regular Channel
  */
  sConfig.Channel = ADC_CHANNEL_17;
  sConfig.Rank = ADC_REGULAR_RANK_15;
  if (HAL_ADC_ConfigChannel(&hadc1, &sConfig) != HAL_OK)
  {
    Error_Handler();
  }

}

static void MX_DAC1_Init(void)
{

  DAC_ChannelConfTypeDef sConfig = {0};
  DAC_AutonomousModeConfTypeDef sAutonomousMode = {0};

  /** DAC Initialization
  */
  hdac1.Instance = DAC1;
  if (HAL_DAC_Init(&hdac1) != HAL_OK)
  {
    Error_Handler();
  }

  /** DAC channel OUT1 config
  */
  sConfig.DAC_HighFrequency = DAC_HIGH_FREQUENCY_INTERFACE_MODE_DISABLE;
  sConfig.DAC_DMADoubleDataMode = DISABLE;
  sConfig.DAC_SignedFormat = DISABLE;
  sConfig.DAC_SampleAndHold = DAC_SAMPLEANDHOLD_ENABLE;
  sConfig.DAC_Trigger = DAC_TRIGGER_NONE;
  sConfig.DAC_OutputBuffer = DAC_OUTPUTBUFFER_ENABLE;
  sConfig.DAC_ConnectOnChipPeripheral = DAC_CHIPCONNECT_EXTERNAL;
  sConfig.DAC_UserTrimming = DAC_TRIMMING_FACTORY;
  sConfig.DAC_SampleAndHoldConfig.DAC_SampleTime = 11;
  sConfig.DAC_SampleAndHoldConfig.DAC_HoldTime = 62;
  sConfig.DAC_SampleAndHoldConfig.DAC_RefreshTime = 4;
  if (HAL_DAC_ConfigChannel(&hdac1, &sConfig, DAC_CHANNEL_1) != HAL_OK)
  {
    Error_Handler();
  }

  /** Configure Autonomous Mode
  */
  sAutonomousMode.AutonomousModeState = DAC_AUTONOMOUS_MODE_DISABLE;
  if (HAL_DACEx_SetConfigAutonomousMode(&hdac1, &sAutonomousMode) != HAL_OK)
  {
    Error_Handler();
  }

  /** DAC channel OUT2 config
  */
  if (HAL_DAC_ConfigChannel(&hdac1, &sConfig, DAC_CHANNEL_2) != HAL_OK)
  {
    Error_Handler();
  }

}

static void MX_FDCAN1_Init(void)
{

  hfdcan1.Instance = FDCAN1;
  hfdcan1.Init.ClockDivider = FDCAN_CLOCK_DIV1;
  hfdcan1.Init.FrameFormat = FDCAN_FRAME_CLASSIC;
  hfdcan1.Init.Mode = FDCAN_MODE_NORMAL;
  hfdcan1.Init.AutoRetransmission = DISABLE;
  hfdcan1.Init.TransmitPause = DISABLE;
  hfdcan1.Init.ProtocolException = DISABLE;
  hfdcan1.Init.NominalPrescaler = 4;
  hfdcan1.Init.NominalSyncJumpWidth = 1;
  hfdcan1.Init.NominalTimeSeg1 = 13;
  hfdcan1.Init.NominalTimeSeg2 = 2;
  hfdcan1.Init.DataPrescaler = 1;
  hfdcan1.Init.DataSyncJumpWidth = 1;
  hfdcan1.Init.DataTimeSeg1 = 1;
  hfdcan1.Init.DataTimeSeg2 = 1;
  hfdcan1.Init.StdFiltersNbr = 0;
  hfdcan1.Init.ExtFiltersNbr = 0;
  hfdcan1.Init.TxFifoQueueMode = FDCAN_TX_FIFO_OPERATION;
  if (HAL_FDCAN_Init(&hfdcan1) != HAL_OK)
  {
    Error_Handler();
  }

}

static void MX_GPDMA1_Init(void)
{

  /* Peripheral clock enable */
  __HAL_RCC_GPDMA1_CLK_ENABLE();

  /* GPDMA1 interrupt Init */
    HAL_NVIC_SetPriority(GPDMA1_Channel0_IRQn, 0, 0);
    HAL_NVIC_EnableIRQ(GPDMA1_Channel0_IRQn);

}

static void MX_ICACHE_Init(void)
{

  /** Enable instruction cache (default 2-ways set associative cache)
  */
  if (HAL_ICACHE_Enable() != HAL_OK)
  {
    Error_Handler();
  }

}

static void MX_SPI1_Init(void)
{

  SPI_AutonomousModeConfTypeDef HAL_SPI_AutonomousMode_Cfg_Struct = {0};

  /* SPI1 parameter configuration*/
  hspi1.Instance = SPI1;
  hspi1.Init.Mode = SPI_MODE_MASTER;
  hspi1.Init.Direction = SPI_DIRECTION_2LINES;
  hspi1.Init.DataSize = SPI_DATASIZE_8BIT;
  hspi1.Init.CLKPolarity = SPI_POLARITY_LOW;
  hspi1.Init.CLKPhase = SPI_PHASE_2EDGE;
  hspi1.Init.NSS = SPI_NSS_SOFT;
  hspi1.Init.BaudRatePrescaler = SPI_BAUDRATEPRESCALER_64;
  hspi1.Init.FirstBit = SPI_FIRSTBIT_MSB;
  hspi1.Init.TIMode = SPI_TIMODE_DISABLE;
  hspi1.Init.CRCCalculation = SPI_CRCCALCULATION_DISABLE;
  hspi1.Init.CRCPolynomial = 0x7;
  hspi1.Init.NSSPMode = SPI_NSS_PULSE_DISABLE;
  hspi1.Init.NSSPolarity = SPI_NSS_POLARITY_LOW;
  hspi1.Init.FifoThreshold = SPI_FIFO_THRESHOLD_01DATA;
  hspi1.Init.MasterSSIdleness = SPI_MASTER_SS_IDLENESS_00CYCLE;
  hspi1.Init.MasterInterDataIdleness = SPI_MASTER_INTERDATA_IDLENESS_00CYCLE;
  hspi1.Init.MasterReceiverAutoSusp = SPI_MASTER_RX_AUTOSUSP_DISABLE;
  hspi1.Init.MasterKeepIOState = SPI_MASTER_KEEP_IO_STATE_DISABLE;
  hspi1.Init.IOSwap = SPI_IO_SWAP_DISABLE;
  hspi1.Init.ReadyMasterManagement = SPI_RDY_MASTER_MANAGEMENT_INTERNALLY;
  hspi1.Init.ReadyPolarity = SPI_RDY_POLARITY_HIGH;
  if (HAL_SPI_Init(&hspi1) != HAL_OK)
  {
    Error_Handler();
  }
  HAL_SPI_AutonomousMode_Cfg_Struct.TriggerState = SPI_AUTO_MODE_DISABLE;
  HAL_SPI_AutonomousMode_Cfg_Struct.TriggerSelection = SPI_GRP1_GPDMA_CH0_TCF_TRG;
  HAL_SPI_AutonomousMode_Cfg_Struct.TriggerPolarity = SPI_TRIG_POLARITY_RISING;
  if (HAL_SPIEx_SetConfigAutonomousMode(&hspi1, &HAL_SPI_AutonomousMode_Cfg_Struct) != HAL_OK)
  {
    Error_Handler();
  }

}

static void MX_SPI2_Init(void)
{

  SPI_AutonomousModeConfTypeDef HAL_SPI_AutonomousMode_Cfg_Struct = {0};

  /* SPI2 parameter configuration*/
  hspi2.Instance = SPI2;
  hspi2.Init.Mode = SPI_MODE_MASTER;
  hspi2.Init.Direction = SPI_DIRECTION_2LINES;
  hspi2.Init.DataSize = SPI_DATASIZE_8BIT;
  hspi2.Init.CLKPolarity = SPI_POLARITY_LOW;
  hspi2.Init.CLKPhase = SPI_PHASE_2EDGE;
  hspi2.Init.NSS = SPI_NSS_SOFT;
  hspi2.Init.BaudRatePrescaler = SPI_BAUDRATEPRESCALER_4;
  hspi2.Init.FirstBit = SPI_FIRSTBIT_MSB;
  hspi2.Init.TIMode = SPI_TIMODE_DISABLE;
  hspi2.Init.CRCCalculation = SPI_CRCCALCULATION_DISABLE;
  hspi2.Init.CRCPolynomial = 0x7;
  hspi2.Init.NSSPMode = SPI_NSS_PULSE_DISABLE;
  hspi2.Init.NSSPolarity = SPI_NSS_POLARITY_LOW;
  hspi2.Init.FifoThreshold = SPI_FIFO_THRESHOLD_01DATA;
  hspi2.Init.MasterSSIdleness = SPI_MASTER_SS_IDLENESS_00CYCLE;
  hspi2.Init.MasterInterDataIdleness = SPI_MASTER_INTERDATA_IDLENESS_00CYCLE;
  hspi2.Init.MasterReceiverAutoSusp = SPI_MASTER_RX_AUTOSUSP_DISABLE;
  hspi2.Init.MasterKeepIOState = SPI_MASTER_KEEP_IO_STATE_DISABLE;
  hspi2.Init.IOSwap = SPI_IO_SWAP_DISABLE;
  hspi2.Init.ReadyMasterManagement = SPI_RDY_MASTER_MANAGEMENT_INTERNALLY;
  hspi2.Init.ReadyPolarity = SPI_RDY_POLARITY_HIGH;
  if (HAL_SPI_Init(&hspi2) != HAL_OK)
  {
    Error_Handler();
  }
  HAL_SPI_AutonomousMode_Cfg_Struct.TriggerState = SPI_AUTO_MODE_DISABLE;
  HAL_SPI_AutonomousMode_Cfg_Struct.TriggerSelection = SPI_GRP1_GPDMA_CH0_TCF_TRG;
  HAL_SPI_AutonomousMode_Cfg_Struct.TriggerPolarity = SPI_TRIG_POLARITY_RISING;
  if (HAL_SPIEx_SetConfigAutonomousMode(&hspi2, &HAL_SPI_AutonomousMode_Cfg_Struct) != HAL_OK)
  {
    Error_Handler();
  }

}

static void MX_GPIO_Init(void)
{
  GPIO_InitTypeDef GPIO_InitStruct = {0};

  /* GPIO Ports Clock Enable */
  __HAL_RCC_GPIOC_CLK_ENABLE();
  __HAL_RCC_GPIOH_CLK_ENABLE();
  __HAL_RCC_GPIOA_CLK_ENABLE();
  __HAL_RCC_GPIOB_CLK_ENABLE();
  __HAL_RCC_GPIOD_CLK_ENABLE();

  /*Configure GPIO pin Output Level */
  HAL_GPIO_WritePin(GPIOC, P_CE_Pin|SPI2_CS1_Pin|SPI2_CS2_Pin|SPI2_CS3_Pin
                          |LED_Ind_Pin, GPIO_PIN_SET);

  /*Configure GPIO pin Output Level */
  HAL_GPIO_WritePin(GPIOC, P_TE_Pin|Unused1_Pin|Unused4_Pin|Unused5_Pin
                          |Unused6_Pin, GPIO_PIN_RESET);

  /*Configure GPIO pin Output Level */
  HAL_GPIO_WritePin(GPIOB, Unused2_Pin|Unused3_Pin|P_PROG2_Pin, GPIO_PIN_RESET);

  /*Configure GPIO pin Output Level */
  HAL_GPIO_WritePin(CAN_STB_GPIO_Port, CAN_STB_Pin, GPIO_PIN_SET);

  /*Configure GPIO pin Output Level */
  HAL_GPIO_WritePin(BLE_CS_GPIO_Port, BLE_CS_Pin, GPIO_PIN_SET);

  /*Configure GPIO pin Output Level */
  HAL_GPIO_WritePin(GPIOB, BLE_RST_Pin|P_SEL_Pin, GPIO_PIN_SET);

  /*Configure GPIO pin : P_CE_Pin */
  GPIO_InitStruct.Pin = P_CE_Pin;
  GPIO_InitStruct.Mode = GPIO_MODE_OUTPUT_PP;
  GPIO_InitStruct.Pull = GPIO_PULLUP;
  GPIO_InitStruct.Speed = GPIO_SPEED_FREQ_LOW;
  HAL_GPIO_Init(P_CE_GPIO_Port, &GPIO_InitStruct);

  /*Configure GPIO pin : P_TE_Pin */
  GPIO_InitStruct.Pin = P_TE_Pin;
  GPIO_InitStruct.Mode = GPIO_MODE_OUTPUT_PP;
  GPIO_InitStruct.Pull = GPIO_PULLDOWN;
  GPIO_InitStruct.Speed = GPIO_SPEED_FREQ_LOW;
  HAL_GPIO_Init(P_TE_GPIO_Port, &GPIO_InitStruct);

  /*Configure GPIO pins : Unused1_Pin SPI2_CS1_Pin SPI2_CS2_Pin SPI2_CS3_Pin
                           Unused4_Pin Unused5_Pin Unused6_Pin */
  GPIO_InitStruct.Pin = Unused1_Pin|SPI2_CS1_Pin|SPI2_CS2_Pin|SPI2_CS3_Pin
                          |Unused4_Pin|Unused5_Pin|Unused6_Pin;
  GPIO_InitStruct.Mode = GPIO_MODE_OUTPUT_PP;
  GPIO_InitStruct.Pull = GPIO_NOPULL;
  GPIO_InitStruct.Speed = GPIO_SPEED_FREQ_LOW;
  HAL_GPIO_Init(GPIOC, &GPIO_InitStruct);

  /*Configure GPIO pins : Unused2_Pin Unused3_Pin */
  GPIO_InitStruct.Pin = Unused2_Pin|Unused3_Pin;
  GPIO_InitStruct.Mode = GPIO_MODE_OUTPUT_PP;
  GPIO_InitStruct.Pull = GPIO_NOPULL;
  GPIO_InitStruct.Speed = GPIO_SPEED_FREQ_LOW;
  HAL_GPIO_Init(GPIOB, &GPIO_InitStruct);

  /*Configure GPIO pins : C1_INTN_Pin C2_INTN_Pin C3_INTN_Pin */
  GPIO_InitStruct.Pin = C1_INTN_Pin|C2_INTN_Pin|C3_INTN_Pin;
  GPIO_InitStruct.Mode = GPIO_MODE_IT_FALLING;
  GPIO_InitStruct.Pull = GPIO_NOPULL;
  HAL_GPIO_Init(GPIOA, &GPIO_InitStruct);

  /*Configure GPIO pin : CAN_STB_Pin */
  GPIO_InitStruct.Pin = CAN_STB_Pin;
  GPIO_InitStruct.Mode = GPIO_MODE_OUTPUT_PP;
  GPIO_InitStruct.Pull = GPIO_NOPULL;
  GPIO_InitStruct.Speed = GPIO_SPEED_FREQ_LOW;
  HAL_GPIO_Init(CAN_STB_GPIO_Port, &GPIO_InitStruct);

  /*Configure GPIO pin : LED_Ind_Pin */
  GPIO_InitStruct.Pin = LED_Ind_Pin;
  GPIO_InitStruct.Mode = GPIO_MODE_OUTPUT_OD;
  GPIO_InitStruct.Pull = GPIO_NOPULL;
  GPIO_InitStruct.Speed = GPIO_SPEED_FREQ_LOW;
  HAL_GPIO_Init(LED_Ind_GPIO_Port, &GPIO_InitStruct);

  /*Configure GPIO pin : BLE_CS_Pin */
  GPIO_InitStruct.Pin = BLE_CS_Pin;
  GPIO_InitStruct.Mode = GPIO_MODE_OUTPUT_PP;
  GPIO_InitStruct.Pull = GPIO_NOPULL;
  GPIO_InitStruct.Speed = GPIO_SPEED_FREQ_LOW;
  HAL_GPIO_Init(BLE_CS_GPIO_Port, &GPIO_InitStruct);

  /*Configure GPIO pin : BLE_EXTI_Pin */
  GPIO_InitStruct.Pin = BLE_EXTI_Pin;
  GPIO_InitStruct.Mode = GPIO_MODE_IT_RISING;
  GPIO_InitStruct.Pull = GPIO_NOPULL;
  HAL_GPIO_Init(BLE_EXTI_GPIO_Port, &GPIO_InitStruct);

  /*Configure GPIO pin : BLE_RST_Pin */
  GPIO_InitStruct.Pin = BLE_RST_Pin;
  GPIO_InitStruct.Mode = GPIO_MODE_OUTPUT_OD;
  GPIO_InitStruct.Pull = GPIO_NOPULL;
  GPIO_InitStruct.Speed = GPIO_SPEED_FREQ_LOW;
  HAL_GPIO_Init(BLE_RST_GPIO_Port, &GPIO_InitStruct);

  /*Configure GPIO pin : P_SEL_Pin */
  GPIO_InitStruct.Pin = P_SEL_Pin;
  GPIO_InitStruct.Mode = GPIO_MODE_OUTPUT_OD;
  GPIO_InitStruct.Pull = GPIO_PULLUP;
  GPIO_InitStruct.Speed = GPIO_SPEED_FREQ_LOW;
  HAL_GPIO_Init(P_SEL_GPIO_Port, &GPIO_InitStruct);

  /*Configure GPIO pin : P_PROG2_Pin */
  GPIO_InitStruct.Pin = P_PROG2_Pin;
  GPIO_InitStruct.Mode = GPIO_MODE_OUTPUT_PP;
  GPIO_InitStruct.Pull = GPIO_PULLDOWN;
  GPIO_InitStruct.Speed = GPIO_SPEED_FREQ_LOW;
  HAL_GPIO_Init(P_PROG2_GPIO_Port, &GPIO_InitStruct);

  /* EXTI interrupt init*/
  HAL_NVIC_SetPriority(EXTI6_IRQn, 1, 0);
  HAL_NVIC_EnableIRQ(EXTI6_IRQn);

  HAL_NVIC_SetPriority(EXTI8_IRQn, 2, 0);
  HAL_NVIC_EnableIRQ(EXTI8_IRQn);

  HAL_NVIC_SetPriority(EXTI9_IRQn, 2, 0);
  HAL_NVIC_EnableIRQ(EXTI9_IRQn);

  HAL_NVIC_SetPriority(EXTI10_IRQn, 2, 0);
  HAL_NVIC_EnableIRQ(EXTI10_IRQn);

}

/* USER CODE BEGIN 4 */

/**
  * @brief  Initialize Charger IC.
  * @param	none
  * @retval none
  */
static void P_Charger_Init(void)
{
	if(P_SEL == 0)
	{
		HAL_GPIO_WritePin(GPIOB, P_SEL_Pin, GPIO_PIN_RESET);
	}else if(P_SEL == 1)
	{
		HAL_GPIO_WritePin(GPIOB, P_SEL_Pin, GPIO_PIN_SET);
	}

	if(P_PROG2 == 0)
	{
		HAL_GPIO_WritePin(GPIOB, P_PROG2_Pin, GPIO_PIN_RESET);
	}else if(P_PROG2 == 1)
	{
		HAL_GPIO_WritePin(GPIOB, P_PROG2_Pin, GPIO_PIN_SET);
	}

	if(P_TE == 0)
	{
		HAL_GPIO_WritePin(GPIOC, P_TE_Pin, GPIO_PIN_SET);
	}else if(P_TE == 1)
	{
		HAL_GPIO_WritePin(GPIOC, P_TE_Pin, GPIO_PIN_RESET);
	}

	if(P_CE == 0)
	{
		HAL_GPIO_WritePin(GPIOC, P_CE_Pin, GPIO_PIN_RESET);
	}else if(P_CE == 1)
	{
		HAL_GPIO_WritePin(GPIOC, P_CE_Pin, GPIO_PIN_SET);
	}
}

/**
  * @brief  Initialize CAN Transceiver.
  * @param	none
  * @retval none
  */
static void CAN_Transceiver_Init(void)
{
	if(CAN_ON == 0)
	{
		HAL_GPIO_WritePin(CAN_STB_GPIO_Port, CAN_STB_Pin, GPIO_PIN_SET);
	}else if(CAN_ON == 1)
	{
		HAL_GPIO_WritePin(CAN_STB_GPIO_Port, CAN_STB_Pin, GPIO_PIN_RESET);
	}
}

/**
  * @brief  Initialize PCAP Device.
  * @param	channel specifies the SPI CS channel to use
  * 		@arg 1: CS1 Device 1
  * 		@arg 2: CS2 Device 2
  * 		@arg 3: CS3 Device 3
  * @param  State defines Activity state of device
  * 		@arg PCAP_ON:  Device is initialized and functioning fully
  * 		@arg PCAP_OFF: Device is initialized and Front-End and DSP disabled
  * @retval Initialized correctness status
  */
static uint8_t PCAP_Init(uint8_t channel, uint8_t State)
{
	PCAP_Buf[0] = Read_Byte2(channel, TEST_READ);
	if(PCAP_Buf[0] != 0x11)
	{
	  return 0;
	}

	//POR + INIT
	Write_Opcode(channel, POR);
	HAL_Delay(500);
	Write_Opcode(channel, INIT);
	HAL_Delay(10);

	// Write firmware with additional write verification of e.g. 100 bytes
	Write_Byte_Auto_Incr(channel, WR_MEM, 0x00, standard_fw, 547);
	Read_Byte_Auto_Incr(channel, RD_MEM, 0x00, PCAP_Buf, 99);
	for(int i = 0; i < 100; i++)
	{
		if(PCAP_Buf[i] != standard_fw[i])
		{
			return 0;
		}
	}

	//Activate or deactivate RUNBIT register
	standard_cfg_bytewise[47] = State;

	// Write configuration (52 Bytes) with additional write verification
	Write_Byte_Auto_Incr(channel, WR_CONFIG, 0x00, standard_cfg_bytewise, 51);
	Read_Byte_Auto_Incr(channel, RD_CONFIG, 0x00, PCAP_Buf, 51);
	for(int i = 0; i < 52; i++)
	{
		if(PCAP_Buf[i] != standard_cfg_bytewise[i])
		{
			return 0;
		}
	}

	Write_Opcode(channel, INIT);

	if(State == 1)
	{
		Write_Opcode(channel, CDC_START);
	}
	return 1;
}

/**
  * @brief  Initialize BlueNRG Device.
  * @param	none
  * @retval none
  */
static void BlueNRG_2_Init(void)
{
	HAL_GPIO_WritePin(BLE_RST_GPIO_Port, BLE_RST_Pin, GPIO_PIN_RESET);
	HAL_Delay(200);
	HAL_GPIO_WritePin(BLE_RST_GPIO_Port, BLE_RST_Pin, GPIO_PIN_SET);
}

/**
  * @brief  Update BlueNRG data.
  * @param	none
  * @retval none
  */
void BlueNRG_2_Update(void)
{
	uint16_t SPIDataSize = 0;
	uint8_t TxData[91];
	uint8_t RxData[91];

	if(((Measure_Select == RES_ONLY) && SendResUpdated) || ((Measure_Select == RES_CAP) && !SendCapUpdated)){
		SPIDataSize = 31;
		TxData[0] = RES_ONLY;
		for(int i = 0;i<15;i++){
			TxData[2*i+1] = (uint8_t)((R_Values[i]>>8) & 0xFF);		//High Byte MSB
			TxData[2*i+2] = (uint8_t)(R_Values[i] & 0xFF);			//Low Byte LSB
		}
		TxData[31] = 0xFF;
		SendResUpdated = 0;
	}else if(((Measure_Select == CAP_ONLY) && SendCapUpdated) || ((Measure_Select == RES_CAP) && !SendResUpdated)){
		SPIDataSize = 61;
		TxData[0] = CAP_ONLY;
		for(int i = 0;i<15;i++){
			TxData[4*i+1] = (uint8_t)((C_Values[i]>>24) & 0xFF);	//High Byte MSB
			TxData[4*i+2] = (uint8_t)((C_Values[i]>>16) & 0xFF);	//2nd Byte
			TxData[4*i+3] = (uint8_t)((C_Values[i]>>8) & 0xFF);		//3rd Byte
			TxData[4*i+4] = (uint8_t)(C_Values[i] & 0xFF);			//Low Byte LSB
		}
		TxData[61] = 0xFF;
		SendCapUpdated = 0;
	}else if((Measure_Select == RES_CAP) && SendResUpdated && SendCapUpdated){
		SPIDataSize = 91;
		TxData[0] = RES_CAP;
		for(int i = 0;i<15;i++){
			TxData[2*i+1] = (uint8_t)((R_Values[i]>>8) & 0xFF);		//High Byte MSB
			TxData[2*i+2] = (uint8_t)(R_Values[i] & 0xFF);			//Low Byte LSB
		}
		for(int i = 0;i<15;i++){
			TxData[4*i+31] = (uint8_t)((C_Values[i]>>24) & 0xFF);	//High Byte MSB
			TxData[4*i+32] = (uint8_t)((C_Values[i]>>16) & 0xFF);	//2nd Byte
			TxData[4*i+33] = (uint8_t)((C_Values[i]>>8) & 0xFF);		//3rd Byte
			TxData[4*i+34] = (uint8_t)(C_Values[i] & 0xFF);			//Low Byte LSB
		}
		TxData[91] = 0xFF;
		SendResUpdated = 0;
		SendCapUpdated = 0;
	}else{
		SPIDataSize = 0;
		TxData[0] = NONE;
	}

	HAL_GPIO_WritePin(BLE_CS_GPIO_Port, BLE_CS_Pin, GPIO_PIN_RESET);
	HAL_SPI_TransmitReceive(&hspi1, TxData, RxData, (SPIDataSize + 1), 10);
	HAL_GPIO_WritePin(BLE_CS_GPIO_Port, BLE_CS_Pin, GPIO_PIN_SET);

}

void HAL_ADC_ConvCpltCallback (ADC_HandleTypeDef * hadc)
{
	if(ADC_eoc_Flag == 0)
	{
		ADC_eoc_Flag = 1;
	}

}

void HAL_GPIO_EXTI_Rising_Callback(uint16_t GPIO_Pin)
{
	if(GPIO_Pin == BLE_EXTI_Pin)
	{
		BlueNRGRequest = 1;
	}
}

	/*Only process SPI2 interrupts when Measuring Capacitive Sensors*/
#if((Measure_Select == CAP_ONLY) || (Measure_Select == RES_CAP))
/**
  * @brief  Handle External Interrupts.
  * @param	GPIO_Pin: Pin that triggered the interrupt
  * @retval none
  */
void HAL_GPIO_EXTI_Falling_Callback(uint16_t GPIO_Pin)
{
	//Set INTN_X_State to 1 when incoming signal is set to Low
	if(GPIO_Pin == C1_INTN_Pin)
	{
		INTN_1_State = 1;	//INTN low active
	}
	if(GPIO_Pin == C2_INTN_Pin)
	{
		INTN_2_State = 1;	//INTN low active
	}
	if(GPIO_Pin == C3_INTN_Pin)
	{
		INTN_3_State = 1;	//INTN low active
	}
}
#endif

/* USER CODE END 4 */

void Error_Handler(void)
{
  __disable_irq();
  while (1)
  {
  }
}
